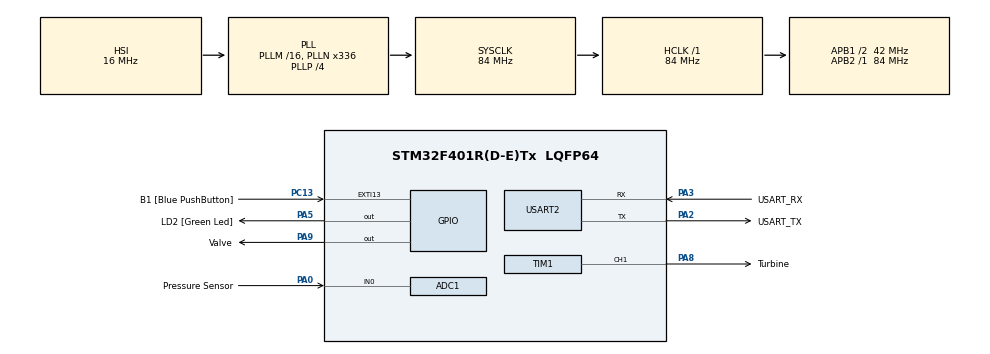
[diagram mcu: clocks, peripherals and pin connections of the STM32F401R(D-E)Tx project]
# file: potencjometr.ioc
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ADC1.Channel-0\#ChannelRegularConversion=ADC_CHANNEL_0
ADC1.ContinuousConvMode=ENABLE
ADC1.DMAContinuousRequests=ENABLE
ADC1.NbrOfConversionFlag=1
ADC1.Rank-0\#ChannelRegularConversion=1
ADC1.SamplingTime-0\#ChannelRegularConversion=ADC_SAMPLETIME_3CYCLES
ADC1.master=1
Dma.ADC1.0.Direction=DMA_PERIPH_TO_MEMORY
Dma.ADC1.0.FIFOMode=DMA_FIFOMODE_DISABLE
Dma.ADC1.0.Instance=DMA2_Stream4
Dma.ADC1.0.MemDataAlignment=DMA_MDATAALIGN_HALFWORD
Dma.ADC1.0.MemInc=DMA_MINC_ENABLE
Dma.ADC1.0.Mode=DMA_CIRCULAR
Dma.ADC1.0.PeriphDataAlignment=DMA_PDATAALIGN_HALFWORD
Dma.ADC1.0.PeriphInc=DMA_PINC_DISABLE
Dma.ADC1.0.Priority=DMA_PRIORITY_LOW
Dma.Request0=ADC1
Mcu.Family=STM32F4
Mcu.Name=STM32F401R(D-E)Tx
Mcu.Package=LQFP64
NVIC.ADC_IRQn=true\:0\:0\:false\:false\:true\:true\:true\:true
NVIC.DMA2_Stream4_IRQn=true\:0\:0\:false\:false\:true\:false\:true\:true
NVIC.PriorityGroup=NVIC_PRIORITYGROUP_0
NVIC.TIM1_UP_TIM10_IRQn=true\:0\:0\:false\:false\:true\:true\:true\:true
PA0-WKUP.GPIO_Label=Pressure Sensor
PA0-WKUP.Signal=ADCx_IN0
PA13.GPIO_Label=TMS
PA13.Mode=Serial_Wire
PA13.Signal=SYS_JTMS-SWDIO
PA14.GPIO_Label=TCK
PA14.Mode=Serial_Wire
PA14.Signal=SYS_JTCK-SWCLK
PA2.GPIO_Label=USART_TX
PA2.GPIO_Mode=GPIO_MODE_AF_PP
PA2.GPIO_PuPd=GPIO_NOPULL
PA2.GPIO_Speed=GPIO_SPEED_FREQ_LOW
PA2.Mode=Asynchronous
PA2.Signal=USART2_TX
PA3.GPIO_Label=USART_RX
PA3.GPIO_Mode=GPIO_MODE_AF_PP
PA3.GPIO_PuPd=GPIO_NOPULL
PA3.GPIO_Speed=GPIO_SPEED_FREQ_LOW
PA3.Mode=Asynchronous
PA3.Signal=USART2_RX
PA5.GPIO_Label=LD2 [Green Led]
PA5.GPIO_Mode=GPIO_MODE_OUTPUT_PP
PA5.GPIO_PuPd=GPIO_NOPULL
PA5.GPIO_Speed=GPIO_SPEED_FREQ_LOW
PA5.Signal=GPIO_Output
PA8.GPIO_Label=Turbine
PA8.Signal=S_TIM1_CH1
PA9.GPIO_Label=Valve
PA9.Signal=GPIO_Output
PB3.GPIO_Label=SWO
PB3.Signal=SYS_JTDO-SWO
PC13-ANTI_TAMP.GPIO_Label=B1 [Blue PushButton]
PC13-ANTI_TAMP.GPIO_ModeDefaultEXTI=GPIO_MODE_IT_FALLING
PC13-ANTI_TAMP.GPIO_PuPd=GPIO_NOPULL
PC13-ANTI_TAMP.Signal=GPXTI13
PC14-OSC32_IN.Mode=LSE-External-Oscillator
PC14-OSC32_IN.Signal=RCC_OSC32_IN
PC15-OSC32_OUT.Mode=LSE-External-Oscillator
PC15-OSC32_OUT.Signal=RCC_OSC32_OUT
PH0\ -\ OSC_IN.Mode=HSE-External-Clock-Source
PH0\ -\ OSC_IN.Signal=RCC_OSC_IN
PH1\ -\ OSC_OUT.Mode=HSE-External-Clock-Source
PH1\ -\ OSC_OUT.Signal=RCC_OSC_OUT
ProjectManager.HeapSize=0x200
ProjectManager.StackSize=0x400
ProjectManager.TargetToolchain=STM32CubeIDE
RCC.48MHZClocksFreq_Value=48000000
RCC.AHBFreq_Value=84000000
RCC.APB1CLKDivider=RCC_HCLK_DIV2
RCC.APB1Freq_Value=42000000
RCC.APB1TimFreq_Value=84000000
RCC.APB2Freq_Value=84000000
RCC.APB2TimFreq_Value=84000000
RCC.CortexFreq_Value=84000000
RCC.HCLKFreq_Value=84000000
RCC.HSE_VALUE=8000000
RCC.HSI_VALUE=16000000
RCC.PLLN=336
RCC.PLLP=RCC_PLLP_DIV4
RCC.PLLQ=7
RCC.SYSCLKFreq_VALUE=84000000
RCC.SYSCLKSource=RCC_SYSCLKSOURCE_PLLCLK
RCC.VCOOutputFreq_Value=336000000
SH.ADCx_IN0.0=ADC1_IN0,IN0
SH.S_TIM1_CH1.0=TIM1_CH1,PWM Generation1 CH1
TIM1.Channel-PWM\ Generation1\ CH1=TIM_CHANNEL_1
TIM1.Period=100-1
TIM1.Prescaler=0
TIM1.Pulse-PWM\ Generation1\ CH1=20
TIM10.Period=10000
TIM10.Prescaler=8400-1
USART2.VirtualMode=VM_ASYNC
VP_TIM10_VS_ClockSourceINT.Mode=Enable_Timer
VP_TIM1_VS_ClockSourceINT.Mode=Internal
board=NUCLEO-F401RE

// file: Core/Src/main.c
/* USER CODE BEGIN Header */
/**
  ******************************************************************************
  * @file           : main.c
  * @brief          : Main program body
  ******************************************************************************
  * @attention
  *
  * <h2><center>&copy; Copyright (c) 2019 STMicroelectronics.
  * All rights reserved.</center></h2>
  *
  * This software component is licensed by ST under BSD 3-Clause license,
  * the "License"; You may not use this file except in compliance with the
  * License. You may obtain a copy of the License at:
  *                        opensource.org/licenses/BSD-3-Clause
  *
  ******************************************************************************
  */
/* USER CODE END Header */
#include "main.h"

/* USER CODE BEGIN Includes */
#include <string.h>
#include <stdio.h>
#include <PID.h>
/* USER CODE END Includes */

/* USER CODE BEGIN PD */
#define ADC_BUF_LEN 100
#define m 0.0634 //calibration slope for pressure sensor -> m = (bar_max - bar_min)/(V_max-V_min)
/* USER CODE END PD */

ADC_HandleTypeDef hadc1;
DMA_HandleTypeDef hdma_adc1;

TIM_HandleTypeDef htim1;
TIM_HandleTypeDef htim10;

UART_HandleTypeDef huart2;

/* USER CODE BEGIN PV */
uint16_t raw;
uint16_t adc_buf[ADC_BUF_LEN];
float adc_value;
float adc_voltage;
float pressure_bar;
float pressure_cmH2O;
char msg[80];
float pwm_speed;
pid_data* pid_d;
int test_pid;
float adc_srednia;
int breath_counter;

int breath_counter = 1;
int inhale_time = 2;
int exhale_time = 3;
/* USER CODE END PV */

void SystemClock_Config(void);
static void MX_GPIO_Init(void);
static void MX_DMA_Init(void);
static void MX_USART2_UART_Init(void);
static void MX_ADC1_Init(void);
static void MX_TIM1_Init(void);
static void MX_TIM10_Init(void);

int main(void)
{

  /* MCU Configuration--------------------------------------------------------*/

  /* Reset of all peripherals, Initializes the Flash interface and the Systick. */
  HAL_Init();

  /* Configure the system clock */
  SystemClock_Config();

  /* Initialize all configured peripherals */
  MX_GPIO_Init();
  MX_DMA_Init();
  MX_USART2_UART_Init();
  MX_ADC1_Init();
  MX_TIM1_Init();
  MX_TIM10_Init();
  /* USER CODE BEGIN 2 */

  HAL_ADC_Start_DMA(&hadc1, (uint32_t*)adc_buf, ADC_BUF_LEN);
  HAL_TIM_PWM_Start(&htim1, TIM_CHANNEL_1);
  HAL_TIM_Base_Start_IT(&htim10);

  HAL_GPIO_WritePin(GPIOA, Valve_Pin, 1);

  pwm_speed = 80;
  __HAL_TIM_SET_COMPARE(&htim1, TIM_CHANNEL_1, (uint16_t)pwm_speed);

  /* USER CODE END 2 */

  /* Infinite loop */
  while (1)
  {

  }
}

void SystemClock_Config(void)
{
  RCC_OscInitTypeDef RCC_OscInitStruct = {0};
  RCC_ClkInitTypeDef RCC_ClkInitStruct = {0};

  /** Configure the main internal regulator output voltage
  */
  __HAL_RCC_PWR_CLK_ENABLE();
  __HAL_PWR_VOLTAGESCALING_CONFIG(PWR_REGULATOR_VOLTAGE_SCALE2);

  /** Initializes the RCC Oscillators according to the specified parameters
  * in the RCC_OscInitTypeDef structure.
  */
  RCC_OscInitStruct.OscillatorType = RCC_OSCILLATORTYPE_HSI;
  RCC_OscInitStruct.HSIState = RCC_HSI_ON;
  RCC_OscInitStruct.HSICalibrationValue = RCC_HSICALIBRATION_DEFAULT;
  RCC_OscInitStruct.PLL.PLLState = RCC_PLL_ON;
  RCC_OscInitStruct.PLL.PLLSource = RCC_PLLSOURCE_HSI;
  RCC_OscInitStruct.PLL.PLLM = 16;
  RCC_OscInitStruct.PLL.PLLN = 336;
  RCC_OscInitStruct.PLL.PLLP = RCC_PLLP_DIV4;
  RCC_OscInitStruct.PLL.PLLQ = 7;
  if (HAL_RCC_OscConfig(&RCC_OscInitStruct) != HAL_OK)
  {
    Error_Handler();
  }

  /** Initializes the CPU, AHB and APB buses clocks
  */
  RCC_ClkInitStruct.ClockType = RCC_CLOCKTYPE_HCLK|RCC_CLOCKTYPE_SYSCLK
                              |RCC_CLOCKTYPE_PCLK1|RCC_CLOCKTYPE_PCLK2;
  RCC_ClkInitStruct.SYSCLKSource = RCC_SYSCLKSOURCE_PLLCLK;
  RCC_ClkInitStruct.AHBCLKDivider = RCC_SYSCLK_DIV1;
  RCC_ClkInitStruct.APB1CLKDivider = RCC_HCLK_DIV2;
  RCC_ClkInitStruct.APB2CLKDivider = RCC_HCLK_DIV1;

  if (HAL_RCC_ClockConfig(&RCC_ClkInitStruct, FLASH_LATENCY_2) != HAL_OK)
  {
    Error_Handler();
  }
}

static void MX_ADC1_Init(void)
{

  ADC_ChannelConfTypeDef sConfig = {0};

  /** Configure the global features of the ADC (Clock, Resolution, Data Alignment and number of conversion)
  */
  hadc1.Instance = ADC1;
  hadc1.Init.ClockPrescaler = ADC_CLOCK_SYNC_PCLK_DIV4;
  hadc1.Init.Resolution = ADC_RESOLUTION_12B;
  hadc1.Init.ScanConvMode = DISABLE;
  hadc1.Init.ContinuousConvMode = ENABLE;
  hadc1.Init.DiscontinuousConvMode = DISABLE;
  hadc1.Init.ExternalTrigConvEdge = ADC_EXTERNALTRIGCONVEDGE_NONE;
  hadc1.Init.ExternalTrigConv = ADC_SOFTWARE_START;
  hadc1.Init.DataAlign = ADC_DATAALIGN_RIGHT;
  hadc1.Init.NbrOfConversion = 1;
  hadc1.Init.DMAContinuousRequests = ENABLE;
  hadc1.Init.EOCSelection = ADC_EOC_SINGLE_CONV;
  if (HAL_ADC_Init(&hadc1) != HAL_OK)
  {
    Error_Handler();
  }

  /** Configure for the selected ADC regular channel its corresponding rank in the sequencer and its sample time.
  */
  sConfig.Channel = ADC_CHANNEL_0;
  sConfig.Rank = 1;
  sConfig.SamplingTime = ADC_SAMPLETIME_3CYCLES;
  if (HAL_ADC_ConfigChannel(&hadc1, &sConfig) != HAL_OK)
  {
    Error_Handler();
  }

}

static void MX_TIM1_Init(void)
{

  TIM_ClockConfigTypeDef sClockSourceConfig = {0};
  TIM_MasterConfigTypeDef sMasterConfig = {0};
  TIM_OC_InitTypeDef sConfigOC = {0};
  TIM_BreakDeadTimeConfigTypeDef sBreakDeadTimeConfig = {0};

  htim1.Instance = TIM1;
  htim1.Init.Prescaler = 0;
  htim1.Init.CounterMode = TIM_COUNTERMODE_UP;
  htim1.Init.Period = 100-1;
  htim1.Init.ClockDivision = TIM_CLOCKDIVISION_DIV1;
  htim1.Init.RepetitionCounter = 0;
  htim1.Init.AutoReloadPreload = TIM_AUTORELOAD_PRELOAD_DISABLE;
  if (HAL_TIM_Base_Init(&htim1) != HAL_OK)
  {
    Error_Handler();
  }
  sClockSourceConfig.ClockSource = TIM_CLOCKSOURCE_INTERNAL;
  if (HAL_TIM_ConfigClockSource(&htim1, &sClockSourceConfig) != HAL_OK)
  {
    Error_Handler();
  }
  if (HAL_TIM_PWM_Init(&htim1) != HAL_OK)
  {
    Error_Handler();
  }
  sMasterConfig.MasterOutputTrigger = TIM_TRGO_RESET;
  sMasterConfig.MasterSlaveMode = TIM_MASTERSLAVEMODE_DISABLE;
  if (HAL_TIMEx_MasterConfigSynchronization(&htim1, &sMasterConfig) != HAL_OK)
  {
    Error_Handler();
  }
  sConfigOC.OCMode = TIM_OCMODE_PWM1;
  sConfigOC.Pulse = 20;
  sConfigOC.OCPolarity = TIM_OCPOLARITY_HIGH;
  sConfigOC.OCNPolarity = TIM_OCNPOLARITY_HIGH;
  sConfigOC.OCFastMode = TIM_OCFAST_DISABLE;
  sConfigOC.OCIdleState = TIM_OCIDLESTATE_RESET;
  sConfigOC.OCNIdleState = TIM_OCNIDLESTATE_RESET;
  if (HAL_TIM_PWM_ConfigChannel(&htim1, &sConfigOC, TIM_CHANNEL_1) != HAL_OK)
  {
    Error_Handler();
  }
  sBreakDeadTimeConfig.OffStateRunMode = TIM_OSSR_DISABLE;
  sBreakDeadTimeConfig.OffStateIDLEMode = TIM_OSSI_DISABLE;
  sBreakDeadTimeConfig.LockLevel = TIM_LOCKLEVEL_OFF;
  sBreakDeadTimeConfig.DeadTime = 0;
  sBreakDeadTimeConfig.BreakState = TIM_BREAK_DISABLE;
  sBreakDeadTimeConfig.BreakPolarity = TIM_BREAKPOLARITY_HIGH;
  sBreakDeadTimeConfig.AutomaticOutput = TIM_AUTOMATICOUTPUT_DISABLE;
  if (HAL_TIMEx_ConfigBreakDeadTime(&htim1, &sBreakDeadTimeConfig) != HAL_OK)
  {
    Error_Handler();
  }
  HAL_TIM_MspPostInit(&htim1);

}

static void MX_TIM10_Init(void)
{

  htim10.Instance = TIM10;
  htim10.Init.Prescaler = 8400-1;
  htim10.Init.CounterMode = TIM_COUNTERMODE_UP;
  htim10.Init.Period = 10000;
  htim10.Init.ClockDivision = TIM_CLOCKDIVISION_DIV1;
  htim10.Init.AutoReloadPreload = TIM_AUTORELOAD_PRELOAD_DISABLE;
  if (HAL_TIM_Base_Init(&htim10) != HAL_OK)
  {
    Error_Handler();
  }

}

static void MX_USART2_UART_Init(void)
{

  huart2.Instance = USART2;
  huart2.Init.BaudRate = 115200;
  huart2.Init.WordLength = UART_WORDLENGTH_8B;
  huart2.Init.StopBits = UART_STOPBITS_1;
  huart2.Init.Parity = UART_PARITY_NONE;
  huart2.Init.Mode = UART_MODE_TX_RX;
  huart2.Init.HwFlowCtl = UART_HWCONTROL_NONE;
  huart2.Init.OverSampling = UART_OVERSAMPLING_16;
  if (HAL_UART_Init(&huart2) != HAL_OK)
  {
    Error_Handler();
  }

}

static void MX_DMA_Init(void)
{

  /* DMA controller clock enable */
  __HAL_RCC_DMA2_CLK_ENABLE();

  /* DMA interrupt init */
  /* DMA2_Stream4_IRQn interrupt configuration */
  HAL_NVIC_SetPriority(DMA2_Stream4_IRQn, 0, 0);
  HAL_NVIC_EnableIRQ(DMA2_Stream4_IRQn);

}

static void MX_GPIO_Init(void)
{
  GPIO_InitTypeDef GPIO_InitStruct = {0};

  /* GPIO Ports Clock Enable */
  __HAL_RCC_GPIOC_CLK_ENABLE();
  __HAL_RCC_GPIOH_CLK_ENABLE();
  __HAL_RCC_GPIOA_CLK_ENABLE();
  __HAL_RCC_GPIOB_CLK_ENABLE();

  /*Configure GPIO pin Output Level */
  HAL_GPIO_WritePin(GPIOA, LD2_Pin|Valve_Pin, GPIO_PIN_RESET);

  /*Configure GPIO pin : B1_Pin */
  GPIO_InitStruct.Pin = B1_Pin;
  GPIO_InitStruct.Mode = GPIO_MODE_IT_FALLING;
  GPIO_InitStruct.Pull = GPIO_NOPULL;
  HAL_GPIO_Init(B1_GPIO_Port, &GPIO_InitStruct);

  /*Configure GPIO pins : LD2_Pin Valve_Pin */
  GPIO_InitStruct.Pin = LD2_Pin|Valve_Pin;
  GPIO_InitStruct.Mode = GPIO_MODE_OUTPUT_PP;
  GPIO_InitStruct.Pull = GPIO_NOPULL;
  GPIO_InitStruct.Speed = GPIO_SPEED_FREQ_LOW;
  HAL_GPIO_Init(GPIOA, &GPIO_InitStruct);

}

/* USER CODE BEGIN 4 */
void HAL_TIM_PeriodElapsedCallback(TIM_HandleTypeDef* htim)
{
	if (htim == &htim10) //timer 10 measures 1s intervals
	{
		HAL_GPIO_TogglePin(GPIOA, GPIO_PIN_5); //blink led when timer counts 1s

		//breath control logic
		if(breath_counter == inhale_time)	//end of inhale
		{
			HAL_GPIO_WritePin(GPIOA, Valve_Pin, 0);	//open valve
			breath_counter++;
		}
		else if (breath_counter == (inhale_time + exhale_time))	//end of exhale
		{
			HAL_GPIO_WritePin(GPIOA, Valve_Pin, 1);	//close valve
			breath_counter = 1;
		}
		else {
			breath_counter++;
		}
	}
}

// Called when ADC buffer is completely filled
void HAL_ADC_ConvCpltCallback(ADC_HandleTypeDef* hadc) {
	adc_srednia = 0;
	adc_value = HAL_ADC_GetValue(&hadc1);
//	for(int i=0; i<ADC_BUF_LEN; i++)
//	{
//		adc_srednia += adc_buf[i];
//	}
//	adc_srednia /= ADC_BUF_LEN;

	adc_voltage = (adc_srednia / hadc1.Instance->HTR) * 3.3;
	pressure_bar = m * adc_voltage; // bar = m * measured + b 	m = (bar_max - bar_min)/(V_max-V_min)	b = bar_min=m*V_min
	pressure_cmH2O = pressure_bar * 1019.71621;
}

/* USER CODE END 4 */

void Error_Handler(void)
{
  __disable_irq();
  while (1)
  {
  }
}
